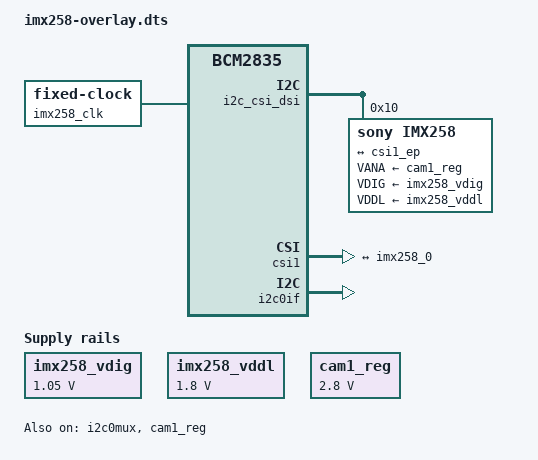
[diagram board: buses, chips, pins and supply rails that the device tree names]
// SPDX-License-Identifier: GPL-2.0-only
// Definitions for IMX258 camera module on VC I2C bus
/dts-v1/;
/plugin/;

#include <dt-bindings/gpio/gpio.h>

/{
	compatible = "brcm,bcm2835";

	fragment@0 {
		target = <&i2c_csi_dsi>;
		__overlay__ {
			#address-cells = <1>;
			#size-cells = <0>;
			status = "okay";

			imx258: imx258@10 {
				compatible = "sony,imx258";
				reg = <0x10>;
				status = "okay";

				clocks = <&imx258_clk>;
				clock-names = "xclk";

				VANA-supply = <&cam1_reg>;	/* 2.8v */
				VDIG-supply = <&imx258_vdig>;	/* 1.05v */
				VDDL-supply = <&imx258_vddl>;	/* 1.8v */

				rotation = <180>;

				port {
					imx258_0: endpoint {
						remote-endpoint = <&csi1_ep>;
						clock-lanes = <0>;
						data-lanes = <1 2>;
						clock-noncontinuous;
						link-frequencies =
							/bits/ 64 <450000000>;
					};
				};
			};
		};
	};

	fragment@1 {
		target = <&csi1>;
		__overlay__ {
			status = "okay";

			port {
				csi1_ep: endpoint {
					remote-endpoint = <&imx258_0>;
					clock-lanes = <0>;
					data-lanes = <1 2>;
					clock-noncontinuous;
				};
			};
		};
	};

	fragment@2 {
		target = <&i2c0if>;
		__overlay__ {
			status = "okay";
		};
	};

	fragment@3 {
		target-path="/";
		__overlay__ {
			imx258_vdig: fixedregulator@0 {
				compatible = "regulator-fixed";
				regulator-name = "imx258_vdig";
				regulator-min-microvolt = <1050000>;
				regulator-max-microvolt = <1050000>;
			};
			imx258_vddl: fixedregulator@1 {
				compatible = "regulator-fixed";
				regulator-name = "imx258_vddl";
				regulator-min-microvolt = <1800000>;
				regulator-max-microvolt = <1800000>;
			};
			imx258_clk: camera-clk {
				compatible = "fixed-clock";
				#clock-cells = <0>;
				clock-frequency = <24000000>;
			};
		};
	};

	fragment@4 {
		target = <&i2c0mux>;
		__overlay__ {
			status = "okay";
		};
	};

	fragment@5 {
		target = <&cam1_reg>;
		__overlay__ {
			status = "okay";
			regulator-name = "imx258_vana";
			startup-delay-us = <300000>;
			regulator-min-microvolt = <2800000>;
			regulator-max-microvolt = <2800000>;
		};
	};

	__overrides__ {
		rotation = <&imx258>,"rotation:0";
	};
};
